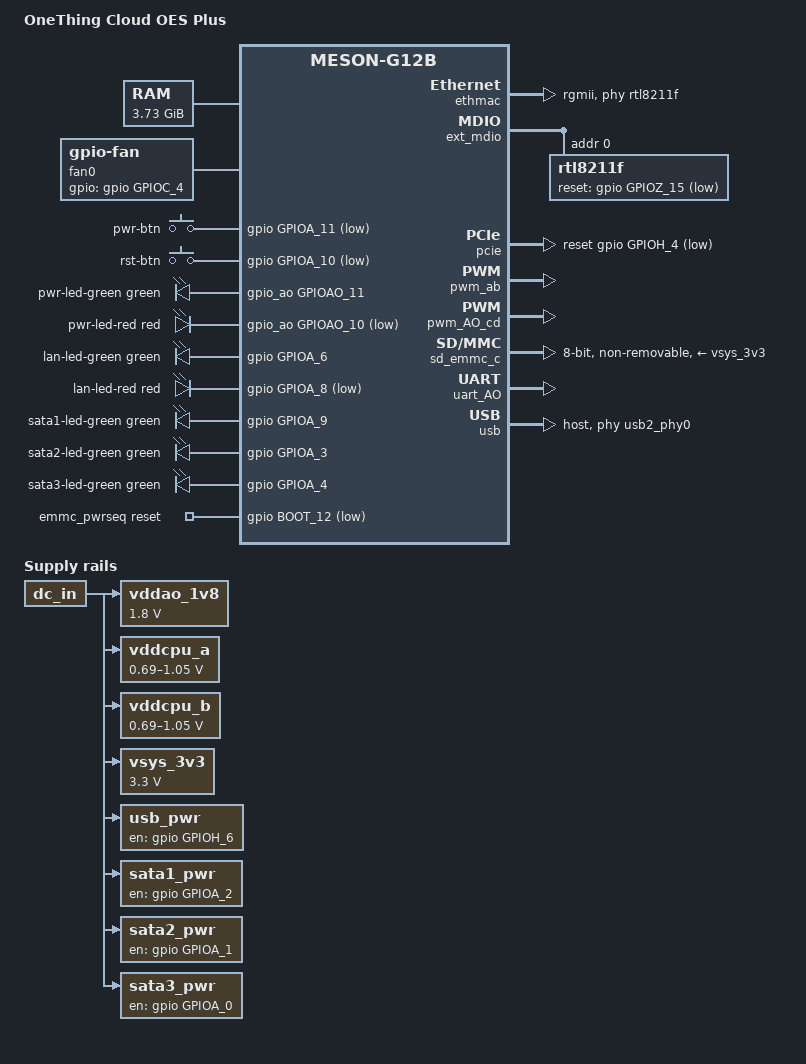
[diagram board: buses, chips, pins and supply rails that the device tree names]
// SPDX-License-Identifier: (GPL-2.0+ OR MIT)
/*
 * Copyright (c) 2019 BayLibre, SAS
 * Author: Neil Armstrong <narmstrong@baylibre.com>
 * Copyright (c) 2019 Christian Hewitt <christianshewitt@gmail.com>
 * Copyright (c) 2025 retro98boy <retro98boy@qq.com>
 */

/dts-v1/;

#include "meson-g12b-s922x.dtsi"
#include <dt-bindings/input/input.h>
#include <dt-bindings/gpio/meson-g12a-gpio.h>
#include <dt-bindings/leds/common.h>

/ {
	compatible = "onethingcloud,oes-plus", "amlogic,s922x", "amlogic,g12b";
	model = "OneThing Cloud OES Plus";

	aliases {
		serial0 = &uart_AO;
		ethernet0 = &ethmac;
		rtc99 = &vrtc;
	};

	chosen {
		stdout-path = "serial0:115200n8";
		kaslr-seed = <0xfeedbeef 0xc0def00d>;
	};

	memory@0 {
		device_type = "memory";
		reg = <0x0 0x0 0x0 0xee6b2800>; /* 4GB */
	};

	fan0: gpio-fan {
		compatible = "gpio-fan";
		gpio-fan,speed-map = <0 0 3000 1>;
		gpios = <&gpio GPIOC_4 GPIO_ACTIVE_HIGH>;
		#cooling-cells = <2>;
	};

	gpio-keys-polled {
		compatible = "gpio-keys-polled";
		poll-interval = <100>;

		pwr-btn {
			label = "pwr-btn";
			linux,code = <KEY_POWER>;
			gpios = <&gpio GPIOA_11 GPIO_ACTIVE_LOW>;
		};

		rst-btn {
			label = "rst-btn";
			linux,code = <KEY_RESTART>;
			gpios = <&gpio GPIOA_10 GPIO_ACTIVE_LOW>;
		};
	};

	gpio-leds {
		compatible = "gpio-leds";

		/*
		 * The circuit design of this device, in its default state (when powered on but the SoC has not started),
		 * has the red power LED on and the green power LED off.
		 * Therefore, by simply turning off the red power LED and turning on the green power LED in the kernel,
		 * it can indicate that the kernel has started.
		 */
		pwr-led-green {
			function = LED_FUNCTION_POWER;
			color = <LED_COLOR_ID_GREEN>;
			gpios = <&gpio_ao GPIOAO_11 GPIO_ACTIVE_HIGH>;
			default-state = "on";
		};

		pwr-led-red {
			function = LED_FUNCTION_POWER;
			color = <LED_COLOR_ID_RED>;
			gpios = <&gpio_ao GPIOAO_10 GPIO_ACTIVE_LOW>;
			default-state = "off";
		};

		/* https://stackoverflow.com/questions/63484352/device-tree-config-for-netdev-trigger-sources-to-control-led-based-on-link-statu */
		/* cat /sys/class/leds/green\:lan/trigger */
		lan-led-green {
			function = LED_FUNCTION_LAN;
			color = <LED_COLOR_ID_GREEN>;
			gpios = <&gpio GPIOA_6 GPIO_ACTIVE_HIGH>;
			default-state = "off";
			linux,default-trigger = "mdio_mux-0.0:00:link";
		};

		lan-led-red {
			function = LED_FUNCTION_LAN;
			color = <LED_COLOR_ID_RED>;
			gpios = <&gpio GPIOA_8 GPIO_ACTIVE_LOW>; /* In fact, a high level lights up the LED. */
			/*
			 * The default state is off (high level), meaning that after the SoC starts,
			 * if no network cable is connected, the red LED lights up by default.
			 */
			default-state = "off";
			linux,default-trigger = "mdio_mux-0.0:00:link";
		};

		sata1-led-green {
			function = LED_FUNCTION_DISK;
			color = <LED_COLOR_ID_GREEN>;
			gpios = <&gpio GPIOA_9 GPIO_ACTIVE_HIGH>;
			default-state = "off";
			linux,default-trigger = "ata1";
		};

		sata2-led-green {
			function = LED_FUNCTION_DISK;
			color = <LED_COLOR_ID_GREEN>;
			gpios = <&gpio GPIOA_3 GPIO_ACTIVE_HIGH>;
			default-state = "off";
			linux,default-trigger = "ata2";
		};

		sata3-led-green {
			function = LED_FUNCTION_DISK;
			color = <LED_COLOR_ID_GREEN>;
			gpios = <&gpio GPIOA_4 GPIO_ACTIVE_HIGH>;
			default-state = "off";
			linux,default-trigger = "ata3";
		};
	};

	emmc_pwrseq: emmc-pwrseq {
		compatible = "mmc-pwrseq-emmc";
		reset-gpios = <&gpio BOOT_12 GPIO_ACTIVE_LOW>;
	};

	dc_in: regulator-dc-in {
		compatible = "regulator-fixed";
		regulator-name = "dc_in";
		regulator-always-on;
		regulator-boot-on;
	};

	vddao_1v8: regulator-vddao-1v8 {
		compatible = "regulator-fixed";
		regulator-name = "vddao_1v8";
		regulator-min-microvolt = <1800000>;
		regulator-max-microvolt = <1800000>;
		regulator-always-on;
		regulator-boot-on;
		vin-supply = <&dc_in>;
	};

	vddcpu_a: regulator-vddcpu-a {
		compatible = "pwm-regulator";
		regulator-name = "VDDCPU_A";
		regulator-min-microvolt = <690000>;
		regulator-max-microvolt = <1050000>;
		pwm-supply = <&dc_in>;
		pwms = <&pwm_ab 0 1250 0>;
		pwm-dutycycle-range = <100 0>;
		regulator-boot-on;
		regulator-always-on;
	};

	vddcpu_b: regulator-vddcpu-b {
		compatible = "pwm-regulator";
		regulator-name = "VDDCPU_B";
		regulator-min-microvolt = <690000>;
		regulator-max-microvolt = <1050000>;
		pwm-supply = <&dc_in>;
		pwms = <&pwm_AO_cd 1 1250 0>;
		pwm-dutycycle-range = <100 0>;
		regulator-boot-on;
		regulator-always-on;
	};

	vsys_3v3: regulator-vsys-3v3 {
		compatible = "regulator-fixed";
		regulator-name = "vsys_3v3";
		regulator-min-microvolt = <3300000>;
		regulator-max-microvolt = <3300000>;
		regulator-always-on;
		regulator-boot-on;
		vin-supply = <&dc_in>;
	};

	usb_pwr: regulator-usb-pwr {
		compatible = "regulator-fixed";
		enable-active-high;
		gpio = <&gpio GPIOH_6 GPIO_ACTIVE_HIGH>;
		regulator-name = "usb_pwr";
		regulator-always-on;
		regulator-boot-on;
		vin-supply = <&dc_in>;
	};

	regulator-sata1-pwr {
		compatible = "regulator-fixed";
		enable-active-high;
		gpio = <&gpio GPIOA_2 GPIO_ACTIVE_HIGH>;
		regulator-name = "sata1_pwr";
		regulator-always-on;
		regulator-boot-on;
		vin-supply = <&dc_in>;
	};

	regulator-sata2-pwr {
		compatible = "regulator-fixed";
		enable-active-high;
		gpio = <&gpio GPIOA_1 GPIO_ACTIVE_HIGH>;
		regulator-name = "sata2_pwr";
		regulator-always-on;
		regulator-boot-on;
		vin-supply = <&dc_in>;
	};

	regulator-sata3-pwr {
		compatible = "regulator-fixed";
		enable-active-high;
		gpio = <&gpio GPIOA_0 GPIO_ACTIVE_HIGH>;
		regulator-name = "sata3_pwr";
		regulator-always-on;
		regulator-boot-on;
		vin-supply = <&dc_in>;
	};
};

&cpu0 {
	cpu-supply = <&vddcpu_b>;
	operating-points-v2 = <&cpu_opp_table_0>;
	clocks = <&clkc CLKID_CPU_CLK>;
	clock-latency = <50000>;
};

&cpu1 {
	cpu-supply = <&vddcpu_b>;
	operating-points-v2 = <&cpu_opp_table_0>;
	clocks = <&clkc CLKID_CPU_CLK>;
	clock-latency = <50000>;
};

&cpu100 {
	cpu-supply = <&vddcpu_a>;
	operating-points-v2 = <&cpub_opp_table_1>;
	clocks = <&clkc CLKID_CPUB_CLK>;
	clock-latency = <50000>;
};

&cpu101 {
	cpu-supply = <&vddcpu_a>;
	operating-points-v2 = <&cpub_opp_table_1>;
	clocks = <&clkc CLKID_CPUB_CLK>;
	clock-latency = <50000>;
};

&cpu102 {
	cpu-supply = <&vddcpu_a>;
	operating-points-v2 = <&cpub_opp_table_1>;
	clocks = <&clkc CLKID_CPUB_CLK>;
	clock-latency = <50000>;
};

&cpu103 {
	cpu-supply = <&vddcpu_a>;
	operating-points-v2 = <&cpub_opp_table_1>;
	clocks = <&clkc CLKID_CPUB_CLK>;
	clock-latency = <50000>;
};

&cpu_thermal {
	trips {
		cpu_active: cpu-active {
			temperature = <60000>; /* millicelsius */
			hysteresis = <5000>; /* millicelsius */
			type = "active";
		};
	};

	cooling-maps {
		map2 {
			trip = <&cpu_active>;
			cooling-device = <&fan0 THERMAL_NO_LIMIT THERMAL_NO_LIMIT>;
		};
	};
};

&ethmac {
	pinctrl-0 = <&eth_pins>, <&eth_rgmii_pins>;
	pinctrl-names = "default";
	status = "okay";
	phy-mode = "rgmii";
	phy-handle = <&rtl8211f>;
	amlogic,tx-delay-ns = <2>;
};

&ext_mdio {
	rtl8211f: rtl8211f@0 {
		reg = <0>;
		max-speed = <1000>;

		reset-assert-us = <10000>;
		reset-deassert-us = <80000>;
		reset-gpios = <&gpio GPIOZ_15 (GPIO_ACTIVE_LOW | GPIO_OPEN_DRAIN)>;

		interrupt-parent = <&gpio_intc>;
		/* MAC_INTR on GPIOZ_14 */
		interrupts = <IRQID_GPIOZ_14 IRQ_TYPE_LEVEL_LOW>; /* tested by voltmeter */

		realtek,led-data = <0xc160>;
	};
};

&pcie {
	status = "okay";
	skip-version-detect;
	reset-gpios = <&gpio GPIOH_4 GPIO_ACTIVE_LOW>; /* tested by voltmeter */
};

&pwm_ab {
	status = "okay";
	pinctrl-0 = <&pwm_a_e_pins>;
	pinctrl-names = "default";
	clocks = <&xtal>;
	clock-names = "clkin0";
};

&pwm_AO_cd {
	pinctrl-0 = <&pwm_ao_d_e_pins>;
	pinctrl-names = "default";
	clocks = <&xtal>;
	clock-names = "clkin1";
	status = "okay";
};

&sd_emmc_c {
	status = "okay";
	pinctrl-0 = <&emmc_ctrl_pins>, <&emmc_data_8b_pins>, <&emmc_ds_pins>;
	pinctrl-1 = <&emmc_clk_gate_pins>;
	pinctrl-names = "default", "clk-gate";

	max-frequency = <200000000>;
	bus-width = <8>;
	cap-mmc-highspeed;
	mmc-ddr-1_8v;
	mmc-hs200-1_8v;
	non-removable;

	mmc-pwrseq = <&emmc_pwrseq>;
	vmmc-supply = <&vsys_3v3>;
	vqmmc-supply = <&vddao_1v8>;
};

&uart_AO {
	status = "okay";
	pinctrl-0 = <&uart_ao_a_pins>;
	pinctrl-names = "default";
};

&usb2_phy0 {
	phy-supply = <&usb_pwr>;
};

&usb2_phy1 {
	phy-supply = <&usb_pwr>;
};

&usb3_pcie_phy {
	phy-supply = <&usb_pwr>;
};

&usb {
	status = "okay";
	dr_mode = "host";
	phys = <&usb2_phy0>, <&usb2_phy1>;
	phy-names = "usb2-phy0", "usb2-phy1";
};
